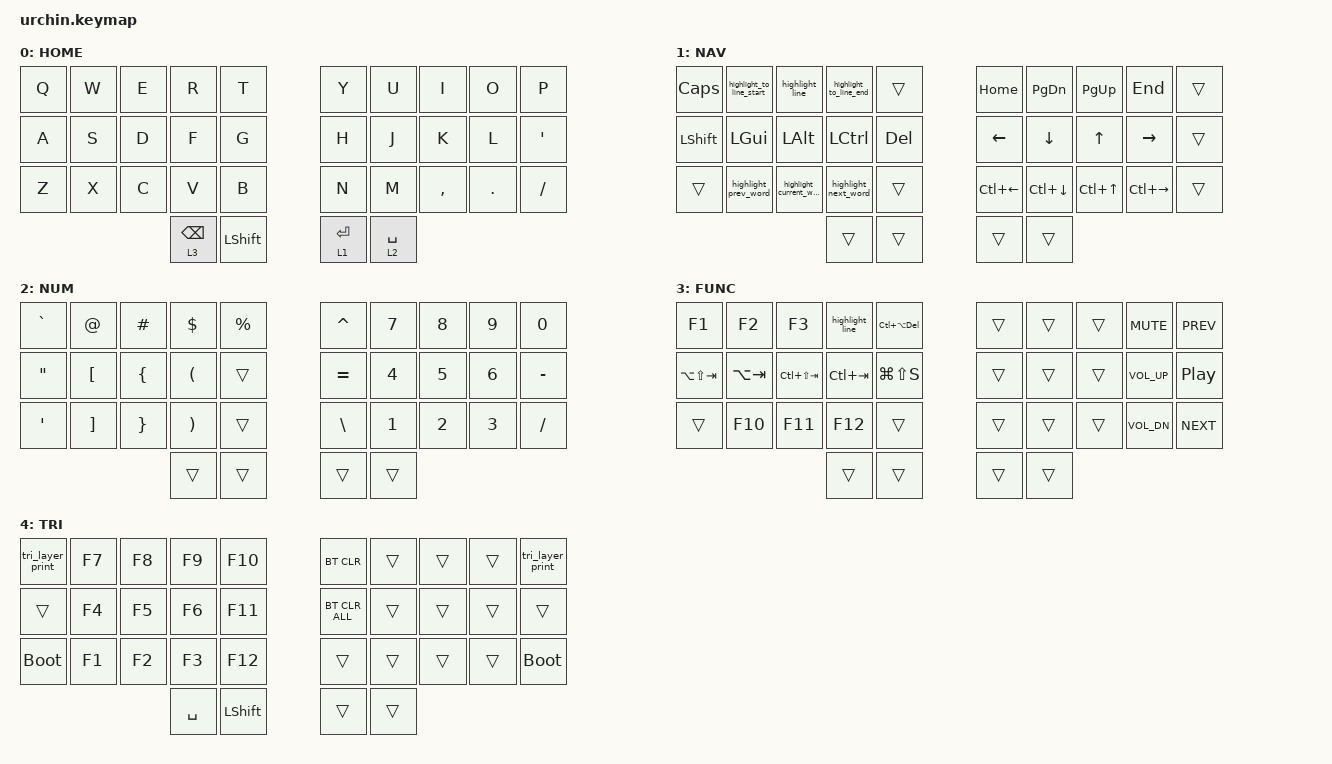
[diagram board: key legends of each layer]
/*
 * Copyright (c) 2020 duckyb
 *
 * SPDX-License-Identifier: MIT
 */

#include <behaviors.dtsi>
#include <dt-bindings/zmk/bt.h>
#include <dt-bindings/zmk/keys.h>

// Layer definitions

#define MAC 0
#define WIN 1
#define RIG 2
#define LEF 3
#define TRI 4
#define MOUSE 5

// -----------------

&sk {
    // don't release mods on other mods presses

    ignore-modifiers;
};

/ {
    behaviors {
        // Enables holding the first mod-tap key
        // by performing a tap-release-hold sequence.
        // To use it: "&qt KEYCODE1 KEYCODE2"

        qt: quick_tap {
            compatible = "zmk,behavior-hold-tap";
            label = "QUICK_TAP";
            #binding-cells = <2>;
            flavor = "hold-preferred";
            tapping-term-ms = <200>;
            quick-tap-ms = <200>;
            bindings = <&kp>, <&kp>;
        };

        ht: hold_tap {
            label = "hold_tap";
            compatible = "zmk,behavior-hold-tap";
            #binding-cells = <2>;
            flavor = "balanced";
            tapping-term-ms = <200>;
            quick-tap-ms = <150>;
            global-quick-tap;
            bindings = <&kp>, <&kp>;
        };

        key_repeat: key_repeat {
            compatible = "zmk,behavior-key-repeat";
            label = "KEY_REPEAT";
            #binding-cells = <0>;
            usage-pages =
            HID_USAGE_KEY;
        };

        hold_layer_tap: hold_layer_tap {
            compatible = "zmk,behavior-hold-tap";
            label = "HOLD_LAYER_TAP";
            bindings = <&mo>, <&kp>;

            #binding-cells = <2>;
            tapping-term-ms = <200>;
            quick-tap-ms = <150>;
            flavor = "tap-preferred";
        };
    };

    conditional_layers {
        compatible = "zmk,conditional-layers";

        tri_layer {
            if-layers = <4 4>;
            then-layer = <4>;
        };
    };

    combos {
        compatible = "zmk,combos";

        esc {
            bindings = <&kp ESC>;
            key-positions = <0 1>;
            require-prior-idle-ms = <75>;
        };

        del {
            bindings = <&kp DEL>;
            key-positions = <8 9>;
            require-prior-idle-ms = <75>;
        };

        lctrl {
            bindings = <&sk LCTRL>;
            key-positions = <11 12>;
            require-prior-idle-ms = <75>;
        };

        lalt {
            bindings = <&sk LALT>;
            key-positions = <20 21>;
            require-prior-idle-ms = <75>;
        };

        lctrlalt {
            bindings = <&sk LA(LCTRL)>;
            key-positions = <1 2 3>;
            require-prior-idle-ms = <75>;
        };

        lgui {
            bindings = <&sk LGUI>;
            key-positions = <22 23>;
            require-prior-idle-ms = <75>;
        };

        grave {
            bindings = <&kp GRAVE>;
            key-positions = <29 28>;
            require-prior-idle-ms = <75>;
        };

        semicolon {
            bindings = <&kp SEMICOLON>;
            key-positions = <19 18>;
            require-prior-idle-ms = <75>;
        };

        tab {
            bindings = <&kp TAB>;
            key-positions = <11 12 13>;
        };

        unstick {
            bindings = <&unstick>;
            key-positions = <1 2>;
            require-prior-idle-ms = <75>;
        };

        tri-layer-r {
            bindings = <&tog 4>;
            key-positions = <9 19 29>;
            require-prior-idle-ms = <75>;
        };

        tri-layer-l {
            bindings = <&tog 4>;
            key-positions = <0 10 20>;
            require-prior-idle-ms = <75>;
        };
    };

    macros {
        // sometimes my device thinks a modifier is being held down
        // pressing all modifiers fixes it.

        unstick: unstick {
            label = "ZM_unstick";
            compatible = "zmk,behavior-macro";
            #binding-cells = <0>;
            bindings = <&kp LSHIFT &kp RSHIFT &kp LCTRL &kp RCTRL &kp LALT &kp RALT &kp LGUI &kp RGUI>;
        };

        highlight_line: highlight_line {
            compatible = "zmk,behavior-macro";
            #binding-cells = <0>;
            bindings = <&kp HOME &kp LS(END)>;
            label = "HIGHLIGHT_LINE";
        };

        up10: up10 {
            compatible = "zmk,behavior-macro";
            #binding-cells = <0>;
            bindings = <&kp UP &kp UP &kp UP &kp UP &kp UP &kp UP &kp UP &kp UP &kp UP &kp UP>;
            label = "up10";
        };

        left10: left10 {
            compatible = "zmk,behavior-macro";
            #binding-cells = <0>;
            bindings = <&kp LEFT &kp LEFT &kp LEFT &kp LEFT &kp LEFT &kp LEFT &kp LEFT &kp LEFT &kp LEFT &kp LEFT>;
            label = "LEFT10";
        };

        right10: right10 {
            compatible = "zmk,behavior-macro";
            #binding-cells = <0>;
            bindings = <&kp RIGHT &kp RIGHT &kp RIGHT &kp RIGHT &kp RIGHT &kp RIGHT &kp RIGHT &kp RIGHT &kp RIGHT &kp RIGHT>;
            label = "right10";
        };

        down10: down10 {
            compatible = "zmk,behavior-macro";
            #binding-cells = <0>;
            bindings = <&kp DOWN &kp DOWN &kp DOWN &kp DOWN &kp DOWN &kp DOWN &kp DOWN &kp DOWN &kp DOWN &kp DOWN>;
            label = "down10";
        };

        highlight_to_line_end: highlight_to_line_end {
            compatible = "zmk,behavior-macro";
            #binding-cells = <0>;
            bindings = <&kp LS(END)>;
            label = "HIGHLIGHT_TO_LINE_END";
        };

        highlight_to_line_start: highlight_to_line_start {
            compatible = "zmk,behavior-macro";
            #binding-cells = <0>;
            bindings = <&kp LS(HOME)>;
            label = "HIGHLIGHT_TO_LINE_START";
        };

        highlight_current_word: highlight_current_word {
            compatible = "zmk,behavior-macro";
            #binding-cells = <0>;
            bindings = <&kp LC(LEFT) &kp LC(LS(RIGHT))>;
            label = "HIGHLIGHT_CURRENT_WORD";
        };

        highlight_next_word: highlight_to_next_word {
            compatible = "zmk,behavior-macro";
            #binding-cells = <0>;
            bindings = <&kp LS(LC(RIGHT))>;
            label = "HIGHLIGHT_TO_NEXT_WORD";
        };

        highlight_prev_word: highlight_prev_word {
            compatible = "zmk,behavior-macro";
            #binding-cells = <0>;
            bindings = <&kp LC(LS(LEFT))>;
            label = "HIGHLIGHT_PREV_WORD";
        };

        tri_layer_print: tri_layer_print {
            compatible = "zmk,behavior-macro";
            #binding-cells = <0>;
            bindings = <&none &kp T &kp R &kp I>;
            label = "TRI_LAYER_PRINT";
        };
    };

    keymap {
        compatible = "zmk,keymap";

        home_layer {
            display-name = "HOME";
            bindings = <
&kp Q  &kp W  &kp E  &kp R                        &kp T       &kp Y        &kp U        &kp I      &kp O    &kp P
&kp A  &kp S  &kp D  &kp F                        &kp G       &kp H        &kp J        &kp K      &kp L    &kp APOS
&kp Z  &kp X  &kp C  &kp V                        &kp B       &kp N        &kp M        &kp COMMA  &kp DOT  &kp SLASH
                     &hold_layer_tap 3 BACKSPACE  &kp LSHIFT  &lt 1 ENTER  &lt 2 SPACE
            >;
        };

        nav_layer {
            display-name = "NAV";
            bindings = <
&kp CAPS        &highlight_to_line_start  &highlight_line          &highlight_to_line_end  &trans   &kp HOME      &kp PAGE_DOWN  &kp PAGE_UP  &kp END        &trans
&kp LEFT_SHIFT  &kp LEFT_GUI              &kp LEFT_ALT             &kp LCTRL               &kp DEL  &kp LEFT      &kp DOWN       &kp UP       &kp RIGHT      &trans
&trans          &highlight_prev_word      &highlight_current_word  &highlight_next_word    &trans   &kp LC(LEFT)  &kp LC(DOWN)   &kp LC(UP)   &kp LC(RIGHT)  &trans
                                                                   &trans                  &trans   &trans        &trans
            >;
        };

        num_layer {
            display-name = "NUM";
            bindings = <
&kp GRAVE  &kp AT    &kp HASH  &kp DLLR  &kp PRCNT  &kp CARET  &kp N7        &kp N8        &kp N9        &kp N0
&kp DQT    &kp LBKT  &kp LBRC  &kp LPAR  &trans     &kp EQUAL  &kp NUMBER_4  &kp N5        &kp NUMBER_6  &kp MINUS
&kp SQT    &kp RBKT  &kp RBRC  &kp RPAR  &trans     &kp BSLH   &kp NUMBER_1  &kp NUMBER_2  &kp NUMBER_3  &kp FSLH
                               &trans    &trans     &trans     &trans
            >;
        };

        func_layer {
            display-name = "FUNC";
            bindings = <
&kp F1           &kp F2       &kp F3           &highlight_line  &kp LC(LA(DEL))  &trans  &trans  &trans  &kp C_MUTE    &kp C_PREV
&kp LA(LS(TAB))  &kp LA(TAB)  &kp LC(LS(TAB))  &kp LC(TAB)      &kp LG(LS(S))    &trans  &trans  &trans  &kp C_VOL_UP  &kp C_PP
&trans           &kp F10      &kp F11          &kp F12          &trans           &trans  &trans  &trans  &kp C_VOL_DN  &kp C_NEXT
                                               &trans           &trans           &trans  &trans
            >;
        };

        tri_layer {
            display-name = "TRI";
            bindings = <
&tri_layer_print  &kp F7  &kp F8  &kp F9     &kp F10     &bt BT_CLR      &trans  &trans  &trans  &tri_layer_print
&trans            &kp F4  &kp F5  &kp F6     &kp F11     &bt BT_CLR_ALL  &trans  &trans  &trans  &trans
&bootloader       &kp F1  &kp F2  &kp F3     &kp F12     &trans          &trans  &trans  &trans  &bootloader
                                  &kp SPACE  &kp LSHIFT  &trans          &trans
            >;
        };
    };
};
